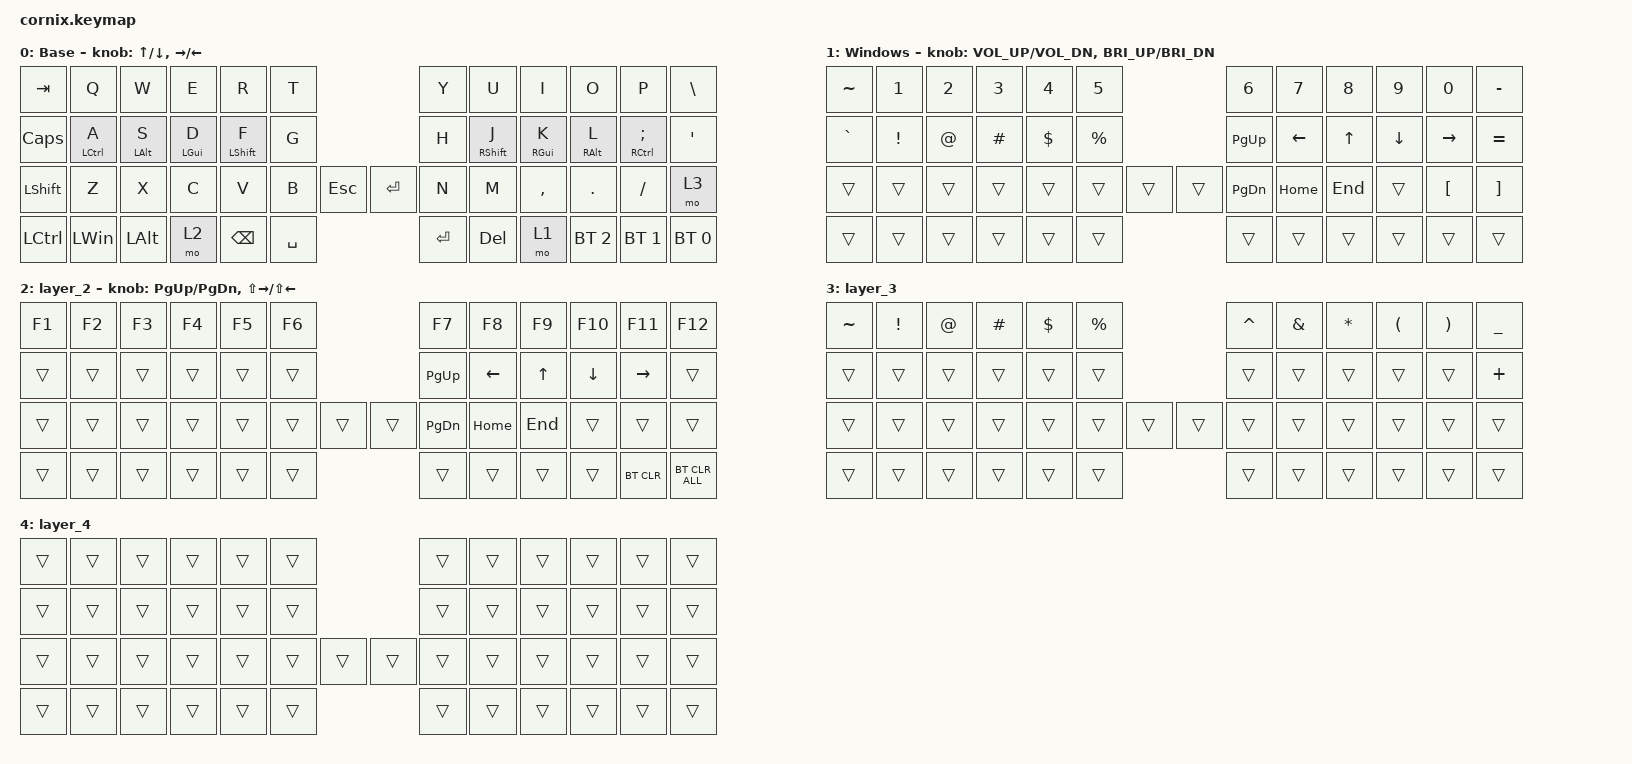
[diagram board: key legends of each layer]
/*
 * Copyright (c) 2020 The ZMK Contributors
 *
 * SPDX-License-Identifier: MIT
 */

#include "zmk-helpers/helper.h"
#include "includes/cornix54.h"

// tap windows for ctl alt and gui

#define HM_TAPPING_TERM 250
#define HM_TAPPING_REPEAT 210

// quick tapping for shift

#define HM_TAPPING_TERM_FAST 200
#define HM_PRIOR_IDLE 70
#define BASE 0
#define WIN 1
#define LOWER 2
#define RAISE 3
#define ADJUST 4
#define NAVI   5
#define NUM    6
#define DEBUG  7

// https://github.com/urob/zmk-config/tree/main#timeless-homerow-mods

#define KEYS_L LT0 LT1 LT2 LT3 LT4 LT5 LM0 LM1 LM2 LM3 LM4 LM5 LB0 LB1 LB2 LB3 LB4 LB5  // left hand
#define KEYS_R RT0 RT1 RT2 RT3 RT4 RT5 RM0 RM1 RM2 RM3 RM4 RM5 RB0 RB1 RB2 RB3 RB4 RB5  // right hand
#define THUMBS LH1 LH0 RH0 RH1
#define KEYS_T LH1 LH0 RH0 RH1
#define ZMK_POINTING_DEFAULT_SCRL_VAL 15

#include <behaviors.dtsi>
#include <dt-bindings/zmk/bt.h>
#include <dt-bindings/zmk/keys.h>

/ {
    // Activate ADJUST layer by pressing raise and lower

    behaviors {
        hm_l: homerow_mods_left {
            compatible = "zmk,behavior-hold-tap";
            #binding-cells = <2>;
            bindings = <&kp>, <&kp>;

            flavor = "tap-preferred";
            tapping-term-ms = <200>;
            quick-tap-ms = <130>;                // repeat on tap-into-hold
            require-prior-idle-ms = <HM_PRIOR_IDLE>;
            hold-trigger-key-positions = <KEYS_R KEYS_T>;
        };

        hm_r: homerow_mods_right {
            compatible = "zmk,behavior-hold-tap";
            #binding-cells = <2>;
            bindings = <&kp>, <&kp>;

            flavor = "tap-preferred";
            tapping-term-ms = <200>;
            quick-tap-ms = <130>;
            require-prior-idle-ms = <HM_PRIOR_IDLE>;
            hold-trigger-key-positions = <KEYS_L KEYS_T>;
        };

        // Positional Homerow mods for shift
        // Use faster tapping term and disable some features that may
        // cause false negatives.

        hm_shift_l: hm_shift_l {
            compatible = "zmk,behavior-hold-tap";
            #binding-cells = <2>;
            bindings = <&kp>, <&kp>;

            //flavor = "balanced";

            flavor = "balanced";
            tapping-term-ms = <HM_TAPPING_TERM_FAST>;
            quick-tap-ms = <200>;
            require-prior-idle-ms = <HM_PRIOR_IDLE>;
            hold-trigger-key-positions = <KEYS_R KEYS_T>;
            hold-trigger-on-release;
        };

        hm_shift_r: hm_shift_r {
            compatible = "zmk,behavior-hold-tap";
            #binding-cells = <2>;
            bindings = <&kp>, <&kp>;

            flavor = "balanced";
            tapping-term-ms = <HM_TAPPING_TERM_FAST>;
            quick-tap-ms = <200>;
            require-prior-idle-ms = <HM_PRIOR_IDLE>;
            hold-trigger-key-positions = <KEYS_L KEYS_T>;

            // for quick tapping; shift+~

            hold-trigger-on-release;
        };

        /*
         * Non-Positional Homerow Mods
         * Used for &mm_grescm_gui behavior on left hand.
         *
         * Usage: &hm LSHFT T
         * Tap: T
         * Tap-Tap-Hold: Repeat T
         * Hold: LSHIFT
         */

        hm: homerow_mods {
            compatible = "zmk,behavior-hold-tap";
            #binding-cells = <2>;
            bindings = <&kp>, <&kp>;

            flavor = "tap-preferred";
            tapping-term-ms = <200>;
            quick-tap-ms = <130>;
        };

        lt: layer_tap {
            compatible = "zmk,behavior-hold-tap";
            #binding-cells = <2>;
            bindings = <&mo>, <&kp>;

            flavor = "hold-preferred";
            tapping-term-ms = <HM_TAPPING_TERM>;
            quick-tap-ms = <200>;
        };
    };

    conditional_layers { compatible = "zmk,conditional-layers"; };

    combos {
        compatible = "zmk,combos";

        cb_ltm {
            bindings = <&kp K_COPY>;
            key-positions = <17 16>;
            layers = <0>;
        };

        cb_lm {
            bindings = <&kp LOCKING_CAPS>;
            key-positions = <14 16>;
            layers = <0>;
        };

        cb_enter {
            bindings = <&kp RET>;
            key-positions = <19 20>;
            layers = <0>;
        };

        back {
            bindings = <&kp BACKSPACE>;
            key-positions = <16 15>;
        };

        daom {
            bindings = <&kp TILDE>;
            key-positions = <19 21>;
        };

        esc2 {
            bindings = <&kp ESCAPE>;
            key-positions = <0 1>;
        };

        back2 {
            bindings = <&kp BACKSPACE>;
            key-positions = <18 19>;
        };

        paste {
            bindings = <&kp K_PASTE>;
            key-positions = <17 15>;
        };
    };

    keymap {
        compatible = "zmk,keymap";

        default_layer {
            display-name = "Base";

            // ------------------------------------------------------------------------------------------------------------
            // |   `   |  1  |  2  |  3   |  4   |  5   |                   |  6   |  7    |  8    |  9   |   0   |       |
            // |  ESC  |  Q  |  W  |  E   |  R   |  T   |                   |  Y   |  U    |  I    |  O   |   P   | BKSPC |
            // |  TAB  |  A  |  S  |  D   |  F   |  G   |                   |  H   |  J    |  K    |  L   |   ;   |   '   |
            // | SHIFT |  Z  |  X  |  C   |  V   |  B   |  MUTE  |  |       |  N   |  M    |  ,    |  .   |   /   | SHIFT |
            //               | GUI | ALT  | CTRL | LOWER|  ENTER |  | SPACE | RAISE| CTRL  | ALT   | GUI  |

            bindings = <
&kp TAB           &kp Q          &kp W         &kp E         &kp R                &kp T                          &kp Y      &kp U                &kp I         &kp O         &kp P             &kp BSLH
&kp CAPS          &hm_l LCTRL A  &hm_l LALT S  &hm_l LGUI D  &hm_shift_l LSHFT F  &kp G                          &kp H      &hm_shift_r RSHFT J  &hm_r RGUI K  &hm_r RALT L  &hm_r RCTRL SEMI  &kp SQT
&kp LEFT_SHIFT    &kp Z          &kp X         &kp C         &kp V                &kp B      &kp ESC  &kp ENTER  &kp N      &kp M                &kp COMMA     &kp DOT       &kp FSLH          &mo 3
&kp LEFT_CONTROL  &kp LEFT_WIN   &kp LEFT_ALT  &mo 2         &kp BACKSPACE        &kp SPACE                      &kp ENTER  &kp DELETE           &mo 1         &bt BT_SEL 2  &bt BT_SEL 1      &bt BT_SEL 0
            >;

            sensor-bindings =
                <&inc_dec_kp UP_ARROW DOWN>,
                <&inc_dec_kp RIGHT LEFT>;
        };

        win_layer {
            display-name = "Windows";

            // ------------------------------------------------------------------------------------------------------------
            // |   `   |  1  |  2  |  3   |  4   |  5   |                   |  6   |  7    |  8    |  9   |   0   |       |
            // |  ESC  |  Q  |  W  |  E   |  R   |  T   |                   |  Y   |  U    |  I    |  O   |   P   | BKSPC |
            // |  TAB  |  A  |  S  |  D   |  F   |  G   |                   |  H   |  J    |  K    |  L   |   ;   |   '   |
            // | SHIFT |  Z  |  X  |  C   |  V   |  B   |  MUTE  |  |       |  N   |  M    |  ,    |  .   |   /   | SHIFT |
            //               | GUI | ALT  | CTRL | LOWER|  ENTER |  | SPACE | RAISE| CTRL  | ALT   | GUI  |

            bindings = <
&kp TILDE  &kp NUMBER_1  &kp NUMBER_2  &kp NUMBER_3  &kp NUMBER_4  &kp N5                       &kp NUMBER_6   &kp N7    &kp N8        &kp N9          &kp N0            &kp MINUS
&kp GRAVE  &kp EXCL      &kp AT        &kp HASH      &kp DOLLAR    &kp PERCENT                  &kp PAGE_UP    &kp LEFT  &kp UP_ARROW  &kp DOWN_ARROW  &kp RIGHT         &kp EQUAL
&trans     &trans        &trans        &trans        &trans        &trans       &trans  &trans  &kp PAGE_DOWN  &kp HOME  &kp END       &trans          &kp LEFT_BRACKET  &kp RIGHT_BRACKET
&trans     &trans        &trans        &trans        &trans        &trans                       &trans         &trans    &trans        &trans          &trans            &trans
            >;

            sensor-bindings =
                <&inc_dec_kp C_VOL_UP C_VOL_DN>,
                <&inc_dec_kp C_BRI_UP C_BRI_DN>;
        };

        layer_2 {
            bindings = <
&kp F1  &kp F2  &kp F3  &kp F4  &kp F5  &kp F6                  &kp F7     &kp F8    &kp F9   &kp F10   &kp F11     &kp F12
&trans  &trans  &trans  &trans  &trans  &trans                  &kp PG_UP  &kp LEFT  &kp UP   &kp DOWN  &kp RIGHT   &trans
&trans  &trans  &trans  &trans  &trans  &trans  &trans  &trans  &kp PG_DN  &kp HOME  &kp END  &trans    &trans      &trans
&trans  &trans  &trans  &trans  &trans  &trans                  &trans     &trans    &trans   &trans    &bt BT_CLR  &bt BT_CLR_ALL
            >;

            sensor-bindings =
                <&inc_dec_kp PAGE_UP PAGE_DOWN>,
                <&inc_dec_kp LS(RIGHT) LS(LEFT)>;
        };

        layer_3 {
            bindings = <
&kp TILDE  &kp EXCLAMATION  &kp AT_SIGN  &kp HASH  &kp DOLLAR  &kp PERCENT                  &kp CARET  &kp AMPERSAND  &kp ASTERISK  &kp LEFT_PARENTHESIS  &kp RIGHT_PARENTHESIS  &kp UNDERSCORE
&trans     &trans           &trans       &trans    &trans      &trans                       &trans     &trans         &trans        &trans                &trans                 &kp PLUS
&trans     &trans           &trans       &trans    &trans      &trans       &trans  &trans  &trans     &trans         &trans        &trans                &trans                 &trans
&trans     &trans           &trans       &trans    &trans      &trans                       &trans     &trans         &trans        &trans                &trans                 &trans
            >;
        };

        layer_4 {
            bindings = <
&trans  &trans  &trans  &trans  &trans  &trans                  &trans  &trans  &trans  &trans  &trans  &trans
&trans  &trans  &trans  &trans  &trans  &trans                  &trans  &trans  &trans  &trans  &trans  &trans
&trans  &trans  &trans  &trans  &trans  &trans  &trans  &trans  &trans  &trans  &trans  &trans  &trans  &trans
&trans  &trans  &trans  &trans  &trans  &trans                  &trans  &trans  &trans  &trans  &trans  &trans
            >;
        };
    };
};
